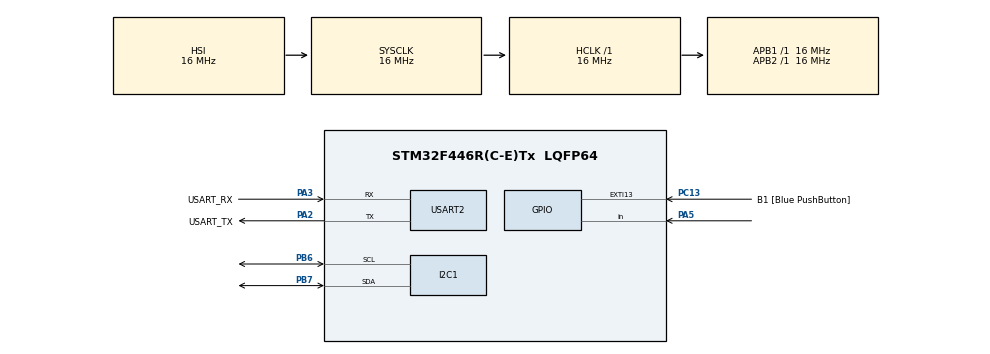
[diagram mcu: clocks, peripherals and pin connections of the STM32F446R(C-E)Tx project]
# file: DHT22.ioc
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Mcu.Family=STM32F4
Mcu.Name=STM32F446R(C-E)Tx
Mcu.Package=LQFP64
NVIC.PriorityGroup=NVIC_PRIORITYGROUP_0
PA13.GPIO_Label=TMS
PA13.Mode=Serial_Wire
PA13.Signal=SYS_JTMS-SWDIO
PA14.GPIO_Label=TCK
PA14.Mode=Serial_Wire
PA14.Signal=SYS_JTCK-SWCLK
PA2.GPIO_Label=USART_TX
PA2.Mode=Asynchronous
PA2.Signal=USART2_TX
PA3.GPIO_Label=USART_RX
PA3.Mode=Asynchronous
PA3.Signal=USART2_RX
PA5.Signal=GPIO_Input
PB6.Mode=I2C
PB6.Signal=I2C1_SCL
PB7.Mode=I2C
PB7.Signal=I2C1_SDA
PC13.GPIO_Label=B1 [Blue PushButton]
PC13.GPIO_ModeDefaultEXTI=GPIO_MODE_IT_FALLING
PC13.Signal=GPXTI13
PC14-OSC32_IN.Mode=LSE-External-Oscillator
PC14-OSC32_IN.Signal=RCC_OSC32_IN
PC15-OSC32_OUT.Mode=LSE-External-Oscillator
PC15-OSC32_OUT.Signal=RCC_OSC32_OUT
PH0-OSC_IN.Mode=HSE-External-Oscillator
PH0-OSC_IN.Signal=RCC_OSC_IN
PH1-OSC_OUT.Mode=HSE-External-Oscillator
PH1-OSC_OUT.Signal=RCC_OSC_OUT
ProjectManager.HeapSize=0x200
ProjectManager.StackSize=0x400
ProjectManager.TargetToolchain=SW4STM32
RCC.48MHZClocksFreq_Value=84000000
RCC.AHBFreq_Value=16000000
RCC.APB1Freq_Value=16000000
RCC.APB1TimFreq_Value=16000000
RCC.APB2Freq_Value=16000000
RCC.APB2TimFreq_Value=16000000
RCC.CortexFreq_Value=16000000
RCC.FLatency-AdvancedSettings=FLASH_LATENCY_0
RCC.HCLKFreq_Value=16000000
RCC.HSE_VALUE=8000000
RCC.HSI_VALUE=16000000
RCC.PLLN=336
RCC.PLLP=RCC_PLLP_DIV4
RCC.SYSCLKFreq_VALUE=16000000
RCC.USBFreq_Value=168000000
RCC.VCOOutputFreq_Value=336000000
USART2.VirtualMode=VM_ASYNC
board=NUCLEO-F446RE

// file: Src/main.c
/* USER CODE BEGIN Header */
/**
  ******************************************************************************
  * @file           : main.c
  * @brief          : Main program body
  ******************************************************************************
  * @attention
  *
  * <h2><center>&copy; Copyright (c) 2019 STMicroelectronics.
  * All rights reserved.</center></h2>
  *
  * This software component is licensed by ST under BSD 3-Clause license,
  * the "License"; You may not use this file except in compliance with the
  * License. You may obtain a copy of the License at:
  *                        opensource.org/licenses/BSD-3-Clause
  *
  ******************************************************************************
  */
/* USER CODE END Header */

#include "main.h"
#include "dwt_stm32_delay.h"
#include "vamk_lcd.h"
#include "esp8266.h"

uint8_t Rh_byte1, Rh_byte2, Temp_byte1, Temp_byte2;
uint16_t sum, RH, TEMP;
int temp_low, temp_high, rh_low, rh_high;
char temp_char1[2], temp_char2, rh_char1[2], rh_char2;
uint8_t check = 0;
GPIO_InitTypeDef GPIO_InitStruct;
uint8_t temp_str[17];
uint8_t humi_str[17];

I2C_HandleTypeDef hi2c1;

UART_HandleTypeDef huart2;

void SystemClock_Config(void);
static void MX_GPIO_Init(void);
static void MX_USART2_UART_Init(void);
static void MX_I2C1_Init(void);

/* USER CODE BEGIN 0 */

void DHT22_start (GPIO_InitTypeDef InitStruct);
void check_response (uint8_t * check);
uint8_t read_data (void);
void set_gpio_output (GPIO_InitTypeDef InitStruct);
void set_gpio_input (GPIO_InitTypeDef InitStruct);

/* USER CODE END 0 */

int main(void)
{

  /* MCU Configuration--------------------------------------------------------*/

  /* Reset of all peripherals, Initializes the Flash interface and the Systick. */
  HAL_Init();

  /* Configure the system clock */
  SystemClock_Config();

  /* Initialize all configured peripherals */
  MX_GPIO_Init();
  MX_USART2_UART_Init();
  MX_I2C1_Init();
  /* USER CODE BEGIN 2 */
  DWT_Delay_Init();
  LCD_Init(hi2c1);
  LCD_ClearAll(hi2c1);
  LCD_Display(hi2c1, 1, (uint8_t *)"Starting...");
  HAL_Delay(1000);
  ESP8266_Init(&huart2);

  /* USER CODE END 2 */

  /* Infinite loop */
  while (1)
  {

    /* USER CODE BEGIN 3 */
	  DHT22_start(GPIO_InitStruct);
	  check_response(&check);
	  Rh_byte1 = read_data();
	  Rh_byte2 = read_data();
	  Temp_byte1 = read_data();
	  Temp_byte2 = read_data();
	  sum = read_data();
	  //if (sum == (Rh_byte1+Rh_byte2+Temp_byte1+Temp_byte2))
	  {
	  	TEMP = ((Temp_byte1 << 8) | Temp_byte2);
	  	RH = ((Rh_byte1 << 8) | Rh_byte2);
	  }

	  temp_low = TEMP / 10;
	  temp_high = TEMP % 10;

	  rh_low = RH / 10;
	  rh_high = RH % 10;
	  sprintf((char *)temp_str, "Temp: %d.%d%cC", TEMP / 10, TEMP % 10, (char)178);
	  sprintf((char *)humi_str, "RH: %d.%d%c", RH / 10, RH % 10, (char)37);
	  LCD_Display(hi2c1, 1, temp_str);
	  LCD_Display(hi2c1, 2, humi_str);
	  Send_To_ThingSpeak(&huart2, TEMP, RH);
	  HAL_Delay(1000);
  }
  /* USER CODE END 3 */
}

void SystemClock_Config(void)
{
  RCC_OscInitTypeDef RCC_OscInitStruct = {0};
  RCC_ClkInitTypeDef RCC_ClkInitStruct = {0};

  /** Configure the main internal regulator output voltage
  */
  __HAL_RCC_PWR_CLK_ENABLE();
  __HAL_PWR_VOLTAGESCALING_CONFIG(PWR_REGULATOR_VOLTAGE_SCALE3);
  /** Initializes the CPU, AHB and APB busses clocks
  */
  RCC_OscInitStruct.OscillatorType = RCC_OSCILLATORTYPE_HSI;
  RCC_OscInitStruct.HSIState = RCC_HSI_ON;
  RCC_OscInitStruct.HSICalibrationValue = RCC_HSICALIBRATION_DEFAULT;
  RCC_OscInitStruct.PLL.PLLState = RCC_PLL_NONE;
  if (HAL_RCC_OscConfig(&RCC_OscInitStruct) != HAL_OK)
  {
    Error_Handler();
  }
  /** Initializes the CPU, AHB and APB busses clocks
  */
  RCC_ClkInitStruct.ClockType = RCC_CLOCKTYPE_HCLK|RCC_CLOCKTYPE_SYSCLK
                              |RCC_CLOCKTYPE_PCLK1|RCC_CLOCKTYPE_PCLK2;
  RCC_ClkInitStruct.SYSCLKSource = RCC_SYSCLKSOURCE_HSI;
  RCC_ClkInitStruct.AHBCLKDivider = RCC_SYSCLK_DIV1;
  RCC_ClkInitStruct.APB1CLKDivider = RCC_HCLK_DIV1;
  RCC_ClkInitStruct.APB2CLKDivider = RCC_HCLK_DIV1;

  if (HAL_RCC_ClockConfig(&RCC_ClkInitStruct, FLASH_LATENCY_0) != HAL_OK)
  {
    Error_Handler();
  }
}

static void MX_I2C1_Init(void)
{

  hi2c1.Instance = I2C1;
  hi2c1.Init.ClockSpeed = 100000;
  hi2c1.Init.DutyCycle = I2C_DUTYCYCLE_2;
  hi2c1.Init.OwnAddress1 = 0;
  hi2c1.Init.AddressingMode = I2C_ADDRESSINGMODE_7BIT;
  hi2c1.Init.DualAddressMode = I2C_DUALADDRESS_DISABLE;
  hi2c1.Init.OwnAddress2 = 0;
  hi2c1.Init.GeneralCallMode = I2C_GENERALCALL_DISABLE;
  hi2c1.Init.NoStretchMode = I2C_NOSTRETCH_DISABLE;
  if (HAL_I2C_Init(&hi2c1) != HAL_OK)
  {
    Error_Handler();
  }

}

static void MX_USART2_UART_Init(void)
{

  huart2.Instance = USART2;
  huart2.Init.BaudRate = 115200;
  huart2.Init.WordLength = UART_WORDLENGTH_8B;
  huart2.Init.StopBits = UART_STOPBITS_1;
  huart2.Init.Parity = UART_PARITY_NONE;
  huart2.Init.Mode = UART_MODE_TX_RX;
  huart2.Init.HwFlowCtl = UART_HWCONTROL_NONE;
  huart2.Init.OverSampling = UART_OVERSAMPLING_16;
  if (HAL_UART_Init(&huart2) != HAL_OK)
  {
    Error_Handler();
  }

}

static void MX_GPIO_Init(void)
{
  GPIO_InitTypeDef GPIO_InitStruct = {0};

  /* GPIO Ports Clock Enable */
  __HAL_RCC_GPIOC_CLK_ENABLE();
  __HAL_RCC_GPIOH_CLK_ENABLE();
  __HAL_RCC_GPIOA_CLK_ENABLE();
  __HAL_RCC_GPIOB_CLK_ENABLE();

  /*Configure GPIO pin : B1_Pin */
  GPIO_InitStruct.Pin = B1_Pin;
  GPIO_InitStruct.Mode = GPIO_MODE_IT_FALLING;
  GPIO_InitStruct.Pull = GPIO_NOPULL;
  HAL_GPIO_Init(B1_GPIO_Port, &GPIO_InitStruct);

  /*Configure GPIO pin : PA5 */
  GPIO_InitStruct.Pin = GPIO_PIN_5;
  GPIO_InitStruct.Mode = GPIO_MODE_INPUT;
  GPIO_InitStruct.Pull = GPIO_NOPULL;
  HAL_GPIO_Init(GPIOA, &GPIO_InitStruct);

}

/* USER CODE BEGIN 4 */

void DHT22_start (GPIO_InitTypeDef InitStruct)
{
	set_gpio_output(InitStruct);  // set the pin as output
	HAL_GPIO_WritePin (GPIOA, GPIO_PIN_5, 0);   // pull the pin low
	DWT_Delay_us (500);   // wait for 500us
	HAL_GPIO_WritePin (GPIOA, GPIO_PIN_5, 1);   // pull the pin high
	DWT_Delay_us (30);   // wait for 30us
	set_gpio_input(InitStruct);   // set as input
}

void check_response (uint8_t * check)
{
	DWT_Delay_us (40);
	if (!(HAL_GPIO_ReadPin (GPIOA, GPIO_PIN_5)))
	{
		DWT_Delay_us (80);
		if ((HAL_GPIO_ReadPin (GPIOA, GPIO_PIN_5))) *check = 1;
	}
	while ((HAL_GPIO_ReadPin (GPIOA, GPIO_PIN_5)));   // wait for the pin to go low
}

uint8_t read_data (void)
{
	uint8_t i = 0,j = 0;
	for (j=0;j<8;j++)
	{
		while (!(HAL_GPIO_ReadPin (GPIOA, GPIO_PIN_5)));   // wait for the pin to go high
		DWT_Delay_us (40);   // wait for 40 us
		if ((HAL_GPIO_ReadPin (GPIOA, GPIO_PIN_5)) == 0)   // if the pin is low
		{
			i&= ~(1<<(7-j));   // write 0
		}
		else i|= (1<<(7-j));  // if the pin is high, write 1
		while ((HAL_GPIO_ReadPin (GPIOA, GPIO_PIN_5)));  // wait for the pin to go low
	}
	return i;
}
void set_gpio_output (GPIO_InitTypeDef InitStruct)
{
	InitStruct.Pin = GPIO_PIN_5;
	InitStruct.Mode = GPIO_MODE_OUTPUT_PP;
	InitStruct.Speed = GPIO_SPEED_FREQ_LOW;
	HAL_GPIO_Init(GPIOA, &InitStruct);
}

void set_gpio_input (GPIO_InitTypeDef InitStruct)
{

	InitStruct.Pin = GPIO_PIN_5;
	InitStruct.Mode = GPIO_MODE_INPUT;
	InitStruct.Pull = GPIO_NOPULL;
	HAL_GPIO_Init(GPIOA, &InitStruct);
}

/* USER CODE END 4 */

void Error_Handler(void)
{
}

/************************ (C) COPYRIGHT STMicroelectronics *****END OF FILE****/
